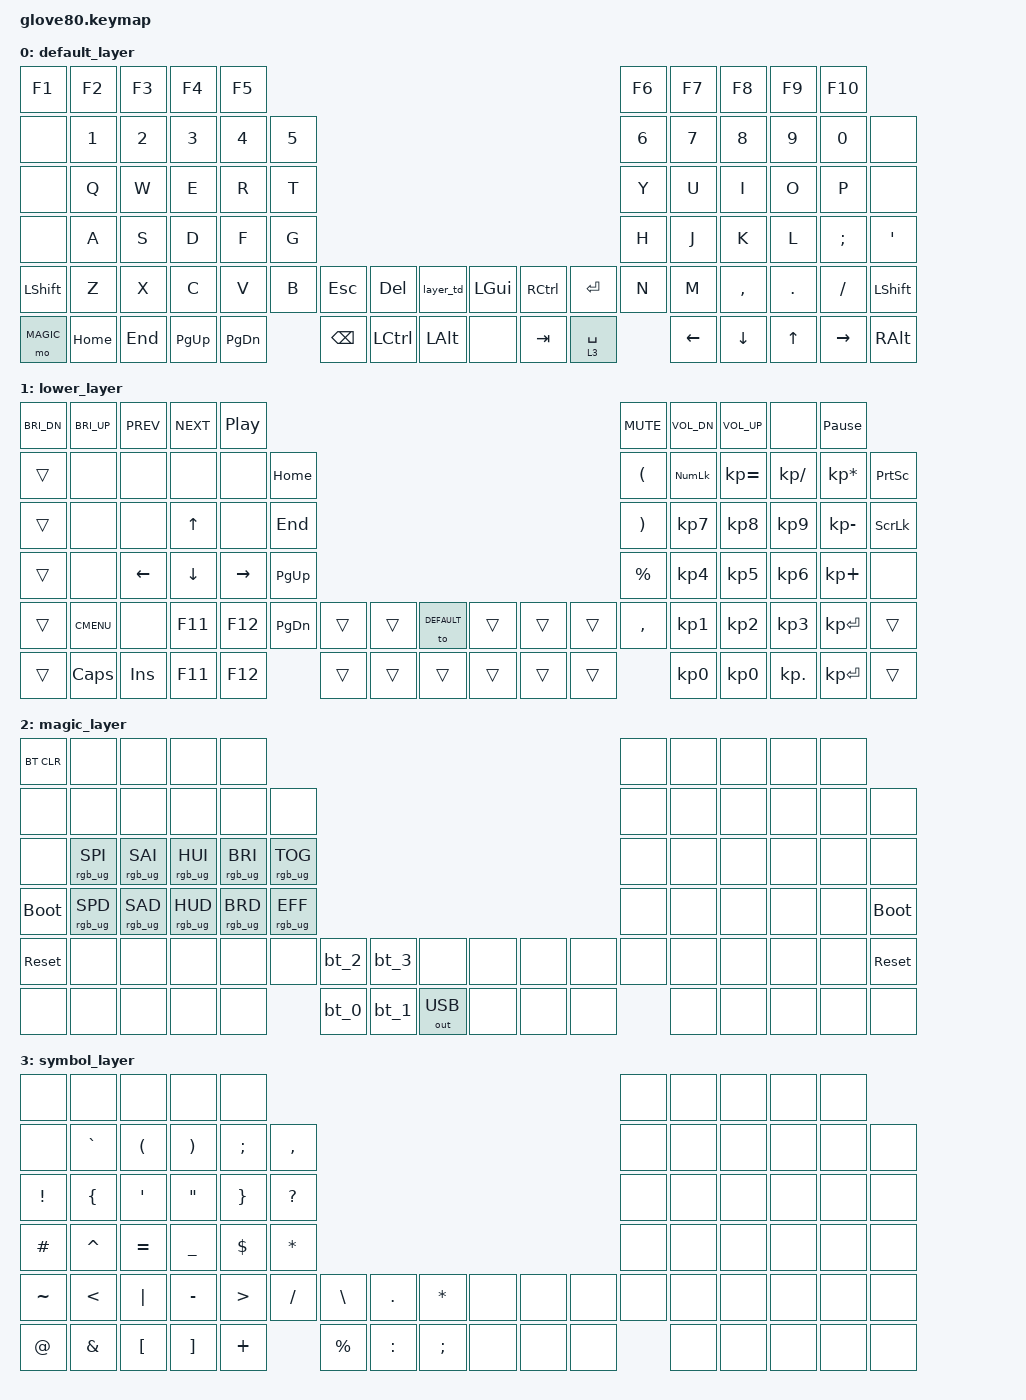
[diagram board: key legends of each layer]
#include <behaviors.dtsi>
#include <dt-bindings/zmk/keys.h>
#include <dt-bindings/zmk/bt.h>
#include <dt-bindings/zmk/ext_power.h>
#include <dt-bindings/zmk/outputs.h>
#include <dt-bindings/zmk/rgb.h>

// layers
#define DEFAULT 0
#define LOWER   1
#define MAGIC   2
#define SYMBOL  3

/ {
    behaviors {
        // For the "layer" key, it'd nice to be able to use it as either a shift or a toggle.
        // Configure it as a tap dance, so the first tap (or hold) is a &mo and the second tap is a &to
        layer_td: tap_dance_0 {
            compatible = "zmk,behavior-tap-dance";
            #binding-cells = <0>;
            tapping-term-ms = <200>;
            bindings = <&mo LOWER>, <&to LOWER>;
        };
    };

    macros {
        bt_0: bt_profile_macro_0 {
            compatible = "zmk,behavior-macro";
            #binding-cells = <0>;
            bindings
                = <&out OUT_BLE>,
                  <&bt BT_SEL 0>;
        };

        bt_1: bt_profile_macro_1 {
            compatible = "zmk,behavior-macro";
            #binding-cells = <0>;
            bindings
                = <&out OUT_BLE>,
                  <&bt BT_SEL 1>;
        };

        bt_2: bt_profile_macro_2 {
            compatible = "zmk,behavior-macro";
            #binding-cells = <0>;
            bindings
                = <&out OUT_BLE>,
                  <&bt BT_SEL 2>;
        };

        bt_3: bt_profile_macro_3 {
            compatible = "zmk,behavior-macro";
            #binding-cells = <0>;
            bindings
                = <&out OUT_BLE>,
                  <&bt BT_SEL 3>;
        };
    };

    keymap {
        compatible = "zmk,keymap";

        default_layer {
            // TODO: Redo layout for all layers for help
            // ---------------------------------------------------------------------------------------------------------------------------------
            // |  F1   |  F2 |  F3 |  F4  |  F5  |                                                               |  F6   |  F7   |  F8  |   F9  |  F10 |
            // |  =    |  1  |  2  |  3   |  4   |  5   |                                                 |  6   |   7   |   8   |  9   |   0   |   -  |
            // |  TAB  |  Q  |  W  |  E   |  R   |  T   |                                                 |  Y   |   U   |   I   |  O   |   P   |   \  |
            // |  ESC  |  A  |  S  |  D   |  F   |  G   |                                                 |  H   |   J   |   K   |  L   |   ;   |   '  |
            // |   `   |  Z  |  X  |  C   |  V   |  B   | LSHFT | LCTRL | LOWER | | LGUI  | RCTRL | RSHFT |  N   |   M   |   ,   |  .   |   /   | PGUP |
            // | MAGIC | HOME| END | LEFT | RIGHT|      | BSPC  | DEL   | LALT  | | RALT  | RET   | SPACE |      |  UP   | DOWN  |  [   |   ]   | PGDN |


            bindings = <
            &kp F1     &kp F2    &kp F3  &kp F4     &kp F5                                                                        &kp F6 &kp F7   &kp F8    &kp F9  &kp F10
            &none      &kp N1    &kp N2  &kp N3     &kp N4     &kp N5                                                             &kp N6 &kp N7   &kp N8    &kp N9  &kp N0    &none
            &none      &kp Q     &kp W   &kp E      &kp R      &kp T                                                              &kp Y  &kp U    &kp I     &kp O   &kp P     &none
            &none      &kp A     &kp S   &kp D      &kp F      &kp G                                                              &kp H  &kp J    &kp K     &kp L   &kp SEMI  &kp SQT
            &kp LSHFT  &kp Z     &kp X   &kp C      &kp V      &kp B  &kp ESC  &kp DEL   &layer_td &kp LGUI &kp RCTRL &kp RET     &kp N  &kp M    &kp COMMA &kp DOT &kp FSLH  &kp LSHFT
            &mo MAGIC  &kp HOME  &kp END &kp PG_UP  &kp PG_DN         &kp BSPC &kp LCTRL &kp LALT  &none    &kp TAB   &lt 3 SPACE        &kp LEFT &kp DOWN  &kp UP  &kp RIGHT &kp RALT
            >;
        };

        lower_layer {
            bindings = <
            &kp C_BRI_DN      &kp C_BRI_UP        &kp C_PREV      &kp C_NEXT      &kp C_PP                                                                                                           &kp C_MUTE   &kp C_VOL_DN &kp C_VOL_UP  &none           &kp PAUSE_BREAK
            &trans            &none               &none           &none           &none           &kp HOME                                                                              &kp LPAR     &kp KP_NUM   &kp KP_EQUAL &kp KP_DIVIDE &kp KP_MULTIPLY &kp PSCRN
            &trans            &none               &none           &kp UP          &none           &kp END                                                                               &kp RPAR     &kp KP_N7    &kp KP_N8    &kp KP_N9     &kp KP_MINUS    &kp SLCK
            &trans            &none               &kp LEFT        &kp DOWN        &kp RIGHT       &kp PG_UP                                                                             &kp PRCNT    &kp KP_N4    &kp KP_N5    &kp KP_N6     &kp KP_PLUS     &none
            &trans            &kp K_CMENU         &none           &kp F11         &kp F12         &kp PG_DN       &trans      &trans      &to DEFAULT &trans      &trans      &trans    &kp COMMA    &kp KP_N1    &kp KP_N2    &kp KP_N3     &kp KP_ENTER    &trans
            &trans            &kp CAPS            &kp INS         &kp F11         &kp F12                         &trans      &trans      &trans      &trans      &trans      &trans                 &kp KP_N0    &kp KP_N0    &kp KP_DOT    &kp KP_ENTER    &trans
            >;
        };

        magic_layer {
            bindings = <
            &bt BT_CLR        &none               &none           &none           &none                                                                                                           &none      &none      &none      &none      &none
            &none             &none               &none           &none           &none           &none                                                                                &none      &none      &none      &none      &none      &none
            &none             &rgb_ug RGB_SPI     &rgb_ug RGB_SAI &rgb_ug RGB_HUI &rgb_ug RGB_BRI &rgb_ug RGB_TOG                                                                      &none      &none      &none      &none      &none      &none
            &bootloader       &rgb_ug RGB_SPD     &rgb_ug RGB_SAD &rgb_ug RGB_HUD &rgb_ug RGB_BRD &rgb_ug RGB_EFF                                                                      &none      &none      &none      &none      &none      &bootloader
            &sys_reset        &none               &none           &none           &none           &none           &bt_2     &bt_3     &none            &none     &none     &none       &none      &none      &none      &none      &none      &sys_reset
            &none             &none               &none           &none           &none                           &bt_0     &bt_1     &out OUT_USB     &none     &none     &none                  &none      &none      &none      &none      &none
            >;
        };

        symbol_layer {
            bindings = <
            &none             &none               &none           &none           &none                                                                                                           &none      &none      &none      &none      &none
            &none             &kp GRAVE           &kp LPAR        &kp RPAR        &kp SEMI        &kp COMMA                                                                            &none      &none      &none      &none      &none      &none
            &kp EXCL          &kp LBRC            &kp SQT         &kp DQT         &kp RBRC        &kp QMARK                                                                            &none      &none      &none      &none      &none      &none
            &kp HASH          &kp CARET           &kp EQUAL       &kp UNDER       &kp DLLR        &kp STAR                                                                             &none      &none      &none      &none      &none      &none
            &kp TILDE         &kp LT              &kp PIPE        &kp MINUS       &kp GT          &kp FSLH        &kp BSLH    &kp DOT  &kp STAR        &none     &none     &none       &none      &none      &none      &none      &none      &none
            &kp AT            &kp AMPS            &kp LBKT        &kp RBKT        &kp PLUS        &kp PRCNT       &kp COLON   &kp SEMI &none           &none     &none     &none                  &none      &none      &none      &none
            >;
        };
    };
};
